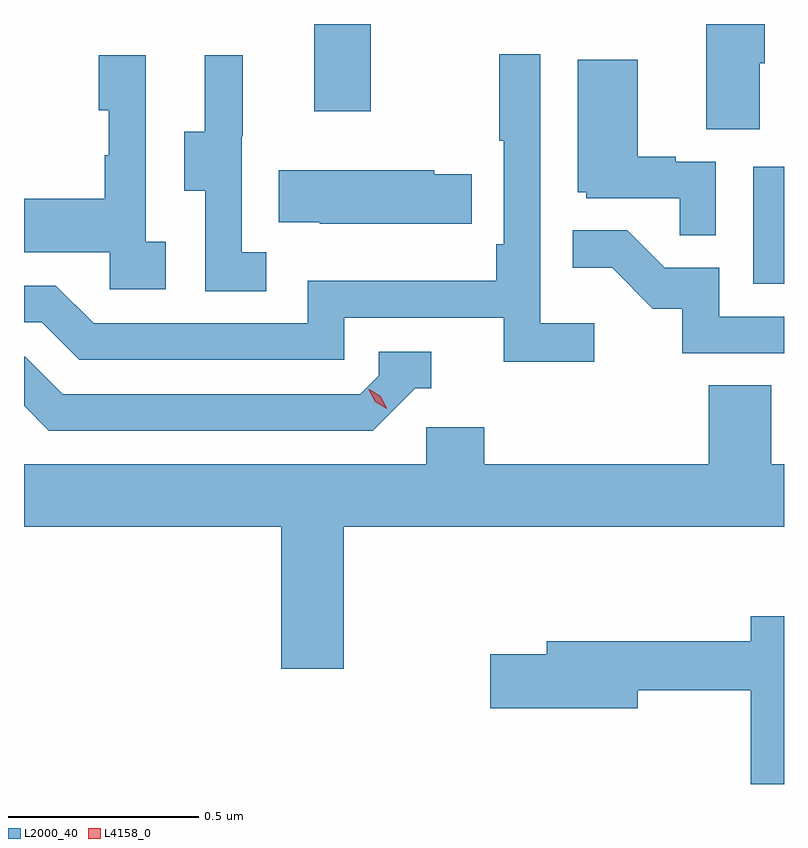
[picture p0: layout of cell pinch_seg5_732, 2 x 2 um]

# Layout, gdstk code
import gdstk
lib = gdstk.Library(unit=1e-6, precision=1e-09)
def R(c, l, rs):  # rectangles x0, y0, x1, y1
    for r in rs: c.add(gdstk.rectangle(r[:2], r[2:], *l))
def P(c, l, *ps):  # polygons
    for p in ps: c.add(gdstk.Polygon(p, *l))
L2000_40 = (2000, 40)
L4158_0 = (4158, 0)

pinch_seg5_732 = lib.new_cell('pinch_seg5_732')
R(pinch_seg5_732, L2000_40, [(1113.302,850.74,1113.383,851.047), (1112.147,851.193,1112.295,851.423)])
P(pinch_seg5_732, L2000_40, [(1113.319,851.32),(1113.332,851.32),(1113.332,851.423),(1113.179,851.423),(1113.179,851.146),(1113.319,851.146)],
  [(1112.884,850.636),(1112.742,850.636),(1112.742,851.344),(1112.634,851.344),(1112.634,851.116),(1112.646,851.116),(1112.646,850.843),(1112.626,850.843),(1112.626,850.747),(1112.13,850.747),(1112.13,850.635),(1111.566,850.635),(1111.467,850.734),(1111.383,850.734),(1111.383,850.638),(1111.43,850.638),(1111.529,850.539),(1112.226,850.539),(1112.226,850.65),(1112.645,850.65),(1112.645,850.534),(1112.884,850.534)],
  [(1111.756,850.85),(1111.704,850.85),(1111.704,851.341),(1111.58,851.341),(1111.58,851.196),(1111.606,851.196),(1111.606,851.078),(1111.596,851.078),(1111.596,850.963),(1111.383,850.963),(1111.383,850.823),(1111.608,850.823),(1111.608,850.725),(1111.756,850.725)],
  [(1112.02,850.823),(1111.956,850.823),(1111.956,851.127),(1111.958,851.127),(1111.958,851.341),(1111.859,851.341),(1111.859,851.139),(1111.805,851.139),(1111.805,850.984),(1111.86,850.984),(1111.86,850.72),(1112.02,850.72)],
  [(1113.204,851.061),(1113.098,851.061),(1113.098,851.074),(1112.998,851.074),(1112.998,851.329),(1112.84,851.329),(1112.84,850.98),(1112.862,850.98),(1112.862,850.965),(1113.109,850.965),(1113.109,850.867),(1113.204,850.867)],
  [(1112.561,851.028),(1112.463,851.028),(1112.463,851.038),(1112.053,851.038),(1112.053,850.901),(1112.161,850.901),(1112.161,850.898),(1112.561,850.898)],
  [(1113.383,850.653),(1113.213,850.653),(1113.213,850.782),(1113.069,850.782),(1112.971,850.88),(1112.827,850.88),(1112.827,850.781),(1112.931,850.781),(1113.038,850.674),(1113.115,850.674),(1113.115,850.557),(1113.383,850.557)],
  [(1112.412,850.464),(1112.455,850.464),(1112.455,850.56),(1112.316,850.56),(1112.316,850.497),(1112.268,850.449),(1111.485,850.449),(1111.386,850.548),(1111.383,850.548),(1111.383,850.418),(1111.448,850.353),(1112.301,850.353)],
  [(1112.224,850.1),(1113.383,850.1),(1113.383,850.264),(1113.35,850.264),(1113.35,850.472),(1113.185,850.472),(1113.185,850.264),(1112.594,850.264),(1112.594,850.362),(1112.442,850.362),(1112.442,850.264),(1111.383,850.264),(1111.383,850.1),(1112.06,850.1),(1112.06,849.726),(1112.224,849.726)],
  [(1113.383,849.865),(1113.296,849.865),(1113.296,849.799),(1112.759,849.799),(1112.759,849.765),(1112.61,849.765),(1112.61,849.623),(1112.998,849.623),(1112.998,849.67),(1113.296,849.67),(1113.296,849.423),(1113.383,849.423)])
P(pinch_seg5_732, L4158_0, [(1112.338,850.41),(1112.307,850.429),(1112.29,850.461),(1112.29,850.462),(1112.291,850.462),(1112.322,850.443),(1112.338,850.41),(1112.338,850.41)])

lib.write_gds('pinch_seg5_732.gds')
